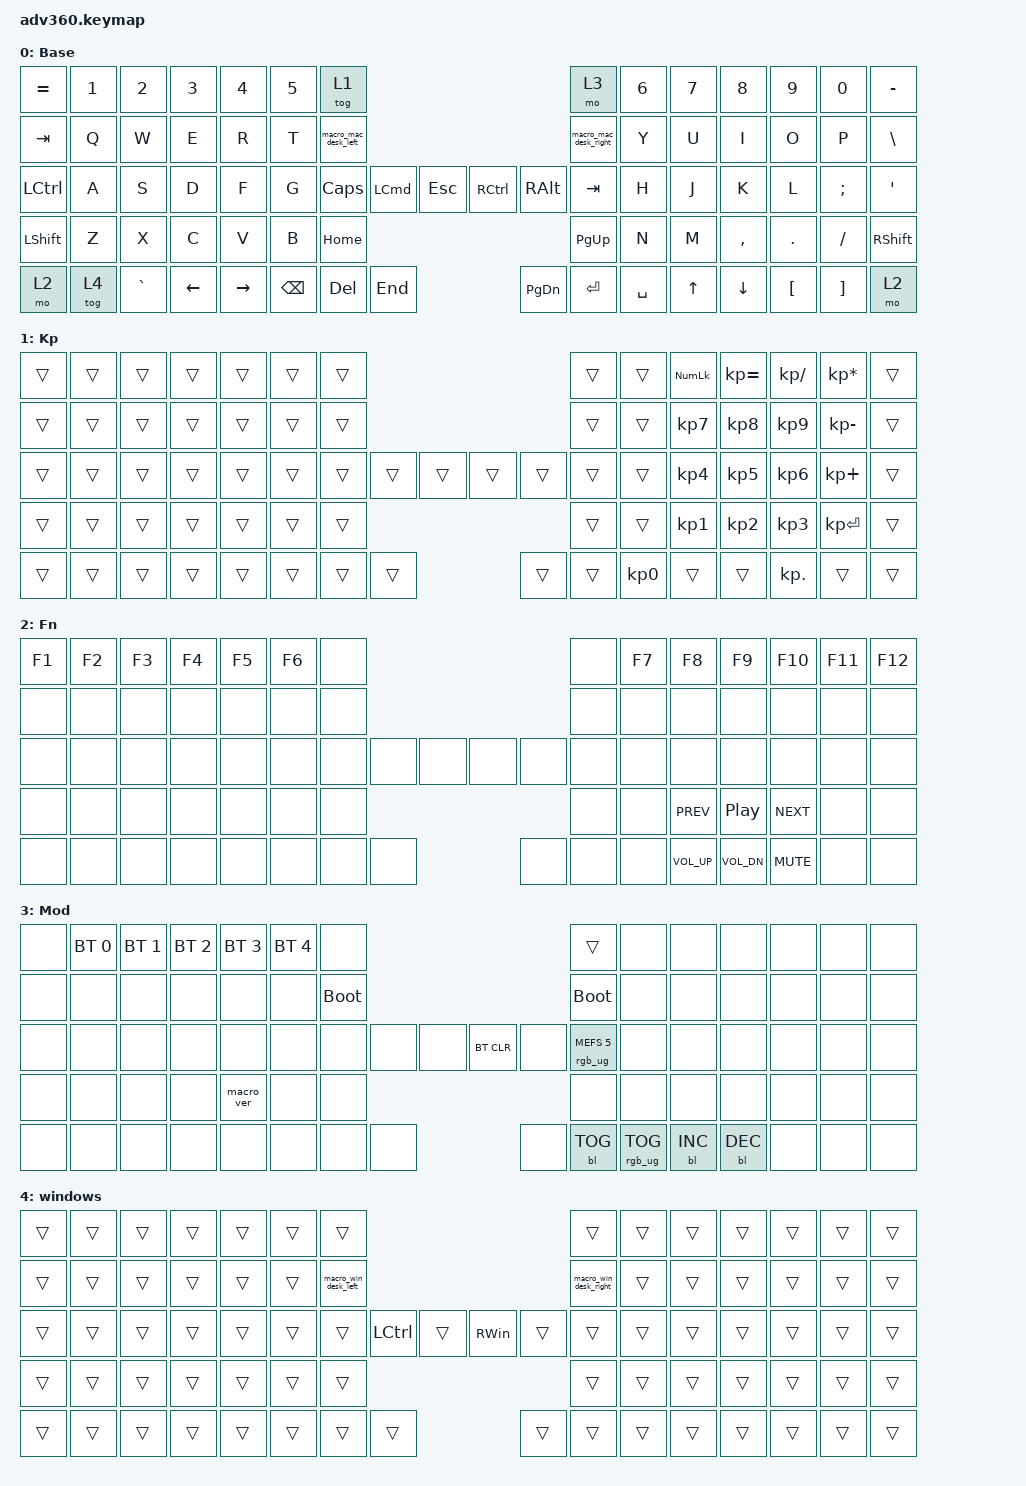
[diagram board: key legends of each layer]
#include <behaviors.dtsi>
#include <dt-bindings/zmk/keys.h>
#include <dt-bindings/zmk/bt.h>
#include <dt-bindings/zmk/rgb.h>
#include <dt-bindings/zmk/stp.h>
#include <dt-bindings/zmk/backlight.h>
#include <dt-bindings/zmk/pointing.h>

/ {
    behaviors {
      #include "macros.dtsi"
      #include "version.dtsi"

      hm: homerow_mods {
          compatible = "zmk,behavior-hold-tap";
          label = "HOMEROW_MODS";
          #binding-cells = <2>;
          tapping-term-ms = <200>;
          quick_tap_ms = <175>;
          flavor = "tap-preferred";
          bindings = <&kp>, <&kp>;
      };
    };

  keymap {
    compatible = "zmk,keymap";

    default_layer {
      display-name = "Base";
      bindings = <
        &kp EQUAL       &kp N1 &kp N2     &kp N3          &kp N4           &kp N5  &tog 1                                                                                 &mo 3                 &kp N6   &kp N7   &kp N8     &kp N9    &kp N0    &kp MINUS
        &kp TAB         &kp Q  &kp W      &kp E           &kp R            &kp T   &macro_mac_desk_left                                                                   &macro_mac_desk_right &kp Y    &kp U    &kp I      &kp O     &kp P     &kp BSLH
        &kp LCTRL       &kp A  &kp S      &kp D           &kp F            &kp G   &kp CAPS              &kp LEFT_COMMAND &kp ESC       &kp RCTRL &kp RIGHT_ALT           &kp TAB               &kp H    &kp J    &kp K      &kp L     &kp SEMI  &kp SQT
        &kp LEFT_SHIFT  &kp Z  &kp X      &kp C           &kp V            &kp B                                          &kp HOME      &kp PAGE_UP                                          &kp N    &kp M    &kp COMMA  &kp DOT   &kp FSLH  &kp RSHFT
        &mo 2           &tog 4 &kp GRAVE  &kp LEFT        &kp RIGHT                                      &kp BSPC &kp DEL &kp END       &kp PAGE_DOWN &kp ENTER &kp SPACE                                  &kp UP   &kp DOWN   &kp LBKT  &kp RBKT  &mo 2
      >;
    };
    keypad {
      display-name = "Kp";
      bindings = <
        &trans  &trans  &trans  &trans  &trans  &trans  &trans                                      &trans     &trans  &kp KP_NUM  &kp KP_EQUAL  &kp KP_DIVIDE  &kp KP_MULTIPLY  &trans
        &trans  &trans  &trans  &trans  &trans  &trans  &trans                                      &trans     &trans  &kp KP_N7   &kp KP_N8     &kp KP_N9      &kp KP_MINUS     &trans
        &trans  &trans  &trans  &trans  &trans  &trans  &trans  &trans  &trans      &trans  &trans  &trans     &trans  &kp KP_N4   &kp KP_N5     &kp KP_N6      &kp KP_PLUS      &trans
        &trans  &trans  &trans  &trans  &trans  &trans                  &trans      &trans                     &trans  &kp KP_N1   &kp KP_N2     &kp KP_N3      &kp KP_ENTER     &trans
        &trans  &trans  &trans  &trans  &trans          &trans  &trans  &trans      &trans  &trans  &kp KP_N0          &trans      &trans        &kp KP_DOT     &trans           &trans
      >;
    };
    fn {
      display-name = "Fn";
      bindings = <
        &kp F1  &kp F2  &kp F3  &kp F4  &kp F5  &kp F6  &none                                  &none  &kp F7  &kp F8          &kp F9        &kp F10         &kp F11    &kp F12
        &none   &none   &none   &none   &none   &none   &none                                  &none  &none   &none           &none         &none           &none      &none
        &none   &none   &none   &none   &none   &none   &none  &none  &none      &none  &none  &none  &none   &none           &none         &none           &none      &none
        &none   &none   &none   &none   &none   &none                 &none      &none                &none   &kp C_PREV      &kp C_PP      &kp C_NEXT      &none      &none
        &none   &none   &none   &none   &none           &none  &none  &none      &none  &none  &none          &kp C_VOLUME_UP &kp C_VOL_DN  &kp C_MUTE      &none      &none
      >;
    };
    mod {
      display-name = "Mod";
      bindings = <
        &none  &bt BT_SEL 0  &bt BT_SEL 1  &bt BT_SEL 2  &bt BT_SEL 3  &bt BT_SEL 4  &none                                                  &trans                  &none  &none       &none       &none  &none  &none
        &none  &none         &none         &none         &none         &none         &bootloader                                            &bootloader             &none  &none       &none       &none  &none  &none
        &none  &none         &none         &none         &none         &none         &none        &none  &none      &bt BT_CLR  &none       &rgb_ug RGB_MEFS_CMD 5  &none  &none       &none       &none  &none  &none
        &none  &none         &none         &none         &macro_ver    &none                             &none      &none                                           &none  &none       &none       &none  &none  &none
        &none  &none         &none         &none         &none                       &none        &none  &none      &none       &bl BL_TOG  &rgb_ug RGB_TOG                &bl BL_INC  &bl BL_DEC  &none  &none  &none
      >;
    };
    windows {
      bindings = <
        &trans  &trans  &trans  &trans  &trans  &trans  &trans                                                              &trans                 &trans  &trans  &trans  &trans  &trans  &trans
        &trans  &trans  &trans  &trans  &trans  &trans  &macro_win_desk_left                                                &macro_win_desk_right  &trans  &trans  &trans  &trans  &trans  &trans
        &trans  &trans  &trans  &trans  &trans  &trans  &trans                &kp LCTRL  &trans      &kp RIGHT_WIN  &trans  &trans                 &trans  &trans  &trans  &trans  &trans  &trans
        &trans  &trans  &trans  &trans  &trans  &trans                                   &trans      &trans                                        &trans  &trans  &trans  &trans  &trans  &trans
        &trans  &trans  &trans  &trans  &trans          &trans                &trans     &trans      &trans         &trans  &trans                         &trans  &trans  &trans  &trans  &trans
      >;
    };
    extra1 { 
      display-name = "Red";    
      status = "reserved";
    };

    extra2 { 
      display-name = "Purple";    
      status = "reserved";
    };

    extra3 { 
      display-name = "Cyan";    
      status = "reserved";
    };

    extra4 { 
      display-name = "Yellow";    
      status = "reserved";
    };
  };
};
